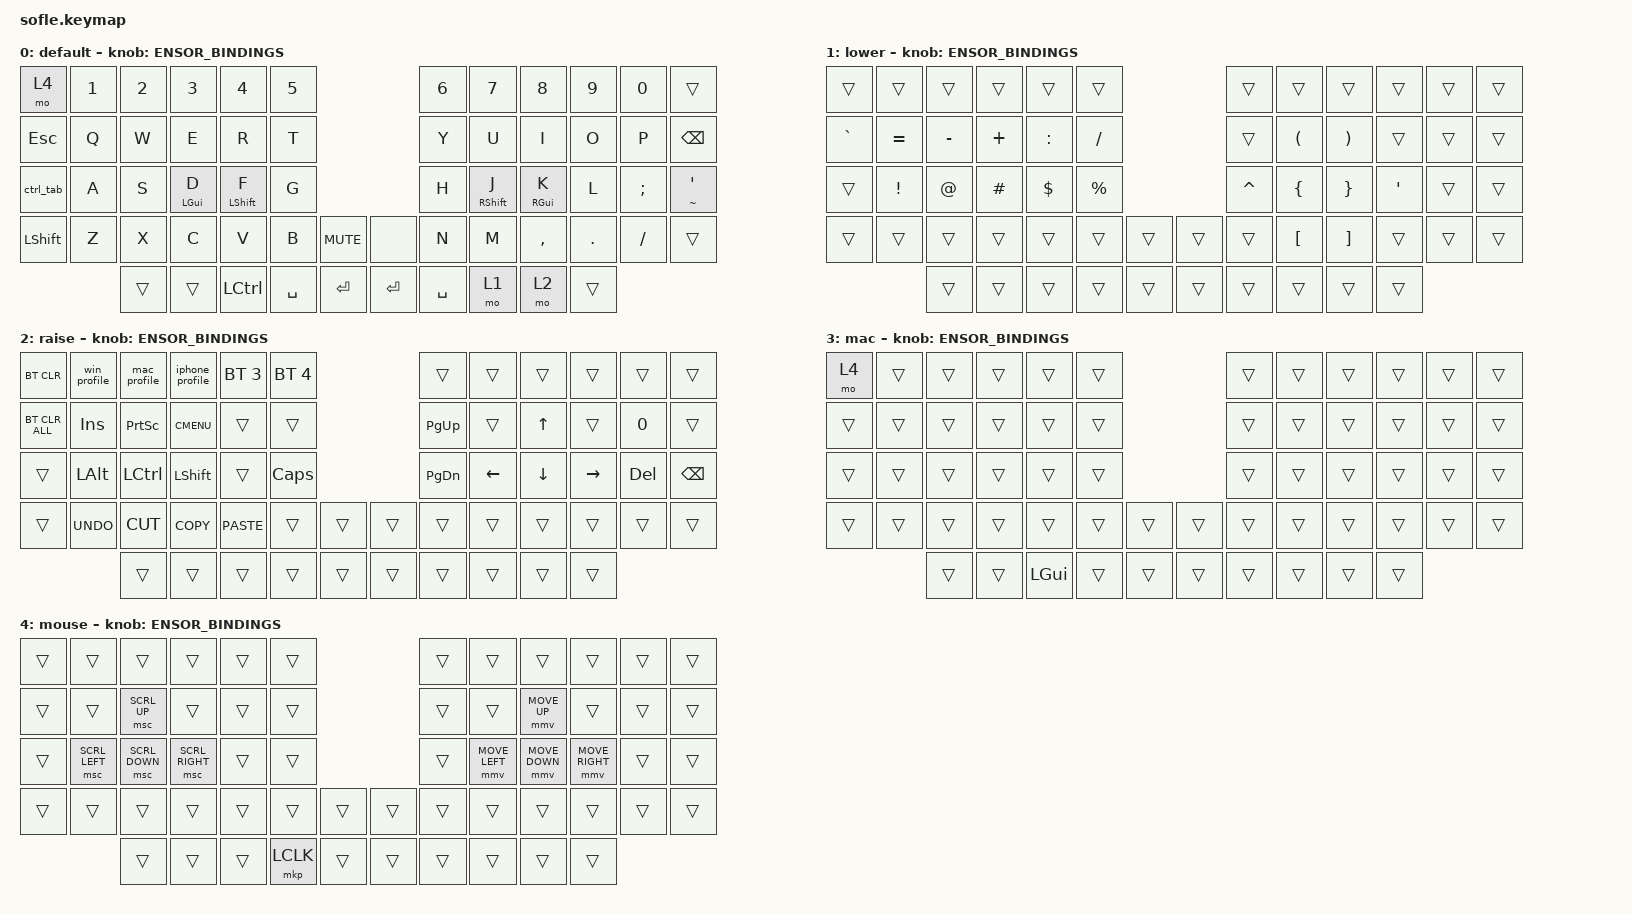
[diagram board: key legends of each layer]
/*
 * Copyright (c) 2020 The ZMK Contributors
 *
 * SPDX-License-Identifier: MIT
 */

#include <behaviors.dtsi>
#include <dt-bindings/zmk/bt.h>
#include <dt-bindings/zmk/keys.h>
#include <dt-bindings/zmk/modifiers.h>
#include <dt-bindings/zmk/pointing.h>
#define BASE 0
#define LOWER 1
#define RAISE 2
#define ADJUST 3

// Sensor do encoder, igual em todas as camadas
#define SENSOR_BINDINGS &inc_dec_kp C_VOL_UP C_VOL_DN &inc_dec_kp PG_DN PG_UP

/ {
    // Activate ADJUST layer by pressing raise and lower

    combos {
        compatible = "zmk,combos";

        keys {
            bindings = <&kp LEFT_BRACE>;
            key-positions = <15 16>;
        };

        parenthesis {
            bindings = <&kp LEFT_PARENTHESIS>;
            key-positions = <27 28>;
        };

        brac {
            bindings = <&kp LEFT_BRACKET>;
            key-positions = <39 40>;
        };
    };

    behaviors {
        hrm_shift: hrm_shift {
            compatible = "zmk,behavior-hold-tap";
            label = "HRM_SHIFT";
            bindings = <&kp>, <&kp>;

            #binding-cells = <2>;
            tapping-term-ms = <200>;
            quick-tap-ms = <0>;
            flavor = "tap-preferred";
        };

        hrm_ctrl: hrm_ctrl {
            compatible = "zmk,behavior-hold-tap";
            label = "HRM_CTRL";
            bindings = <&kp>, <&kp>;

            #binding-cells = <2>;
            tapping-term-ms = <200>;
            quick-tap-ms = <0>;
            flavor = "tap-preferred";
        };

        ctrl_tab: ctrl_tab {
            compatible = "zmk,behavior-mod-morph";
            label = "CTRL_TAB";
            #binding-cells = <0>;
            bindings = <&kp TAB>, <&kp LA(TAB)>;
            mods = <(MOD_LCTL)>;
            keep-mods = <(MOD_LCTL)>;
        };
    };

    macros {
        mac_profile: mac_profile {
            compatible = "zmk,behavior-macro";
            label = "MAC_PROFILE";
            #binding-cells = <0>;
            wait-ms = <50>;
            tap-ms = <30>;
            bindings = <&bt BT_SEL 1>, <&to 3>;
        };

        win_profile: win_profile {
            compatible = "zmk,behavior-macro";
            label = "WIN_PROFILE";
            #binding-cells = <0>;
            wait-ms = <50>;
            tap-ms = <30>;
            bindings = <&bt BT_SEL 0>, <&to 0>;
        };

        iphone_profile: iphone_profile {
            compatible = "zmk,behavior-macro";
            label = "IPHONE_PROFILE";
            #binding-cells = <0>;
            wait-ms = <50>;
            tap-ms = <30>;
            bindings = <&bt BT_SEL 2>, <&to 3>;
        };
    };

    keymap {
        compatible = "zmk,keymap";

        win {
            display-name = "default";

            // ------------------------------------------------------------------------------------------------------------
            // |   `   |  1  |  2  |  3   |  4   |  5   |                   |  6   |  7    |  8    |  9   |   0   |       |
            // |  ESC  |  Q  |  W  |  E   |  R   |  T   |                   |  Y   |  U    |  I    |  O   |   P   | BKSPC |
            // |  TAB  |  A  |  S  |  D   |  F   |  G   |                   |  H   |  J    |  K    |  L   |   ;   |   '   |
            // | SHIFT |  Z  |  X  |  C   |  V   |  B   |  MUTE  |  |       |  N   |  M    |  ,    |  .   |   /   | SHIFT |
            //               | GUI | ALT  | CTRL | LOWER|  ENTER |  | ENTER | SPACE| LOWER | RAISE | GUI  |

            bindings = <
&mo 4     &kp NUMBER_1  &kp NUMBER_2  &kp N3            &kp N4                   &kp N5                              &kp NUMBER_6  &kp NUMBER_7              &kp NUMBER_8           &kp NUMBER_9  &kp NUMBER_0  &trans
&kp ESC    &kp Q         &kp W         &kp E             &kp R                    &kp T                               &kp Y         &kp U                     &kp I                  &kp O         &kp P         &kp BSPC
&ctrl_tab  &kp A         &kp S         &hrm_ctrl LGUI D  &hrm_shift LEFT_SHIFT F  &kp G                               &kp H         &hrm_shift RIGHT_SHIFT J  &hrm_ctrl RIGHT_GUI K  &kp L         &kp SEMI      &hrm_ctrl TILDE SQT
&kp LSHFT  &kp Z         &kp X         &kp C             &kp V                    &kp B      &kp C_MUTE    &none      &kp N         &kp M                     &kp COMMA              &kp DOT       &kp FSLH      &trans
                            &trans        &trans            &kp LCTRL             &kp SPACE  &kp RET      &kp ENTER  &kp SPACE     &mo 1                     &mo 2                  &trans
            >;

            sensor-bindings = <SENSOR_BINDINGS>;
        };

        utils {
            display-name = "lower";

            // TODO: Some binds are waiting for shifted keycode support.
            // ------------------------------------------------------------------------------------------------------------
            // |       |  F1 |  F2 |  F3  |  F4  |  F5  |                   |  F6  |  F7   |  F8   |  F9  |  F10  |  F11  |
            // |   `   |  1  |  2  |  3   |  4   |  5   |                   |  6   |  7    |  8    |  9   |   0   |  F12  |
            // |       |  !  |  @  |  #   |  $   |  %   |                   |  ^   |  &    |  *    |  (   |   )   |   |   |
            // |       |  =  |  -  |  +   |  {   |  }   |        |  |       |  [   |  ]    |  ;    |  :   |   \   |       |
            //               |     |      |      |      |        |  |       |      |       |       |      |

            bindings = <
&trans     &trans     &trans     &trans    &trans     &trans                       &trans     &trans    &trans    &trans   &trans  &trans
&kp GRAVE  &kp EQUAL  &kp MINUS  &kp PLUS  &kp COLON  &kp SLASH                    &trans     &kp LPAR  &kp RPAR  &trans   &trans  &trans
&trans     &kp EXCL   &kp AT     &kp HASH  &kp DLLR   &kp PRCNT                    &kp CARET  &kp LBRC  &kp RBRC  &kp SQT  &trans  &trans
&trans     &trans     &trans     &trans    &trans     &trans     &trans    &trans  &trans     &kp LBKT  &kp RBKT  &trans   &trans  &trans
                      &trans     &trans    &trans     &trans     &trans    &trans  &trans     &trans    &trans    &trans
            >;

            sensor-bindings = <SENSOR_BINDINGS>;
        };

        adjust {
            display-name = "raise";

            // ------------------------------------------------------------------------------------------------------------
            // | BTCLR | BT1  | BT2  |  BT3  |  BT4  |  BT5 |                |      |      |       |      |       |       |
            // |       | INS  | PSCR | GUI   |       |      |                | PGUP |      |   ^   |      |       |       |
            // |       | ALT  | CTRL | SHIFT |       | CAPS |                | PGDN |   <- |   v   |  ->  |  DEL  | BKSPC |
            // |       | UNDO | CUT  | COPY  | PASTE |      |      |  |      |      |      |       |      |       |       |
            //                |      |       |       |      |      |  |      |      |      |       |      |

            bindings = <
&bt BT_CLR      &win_profile  &mac_profile &iphone_profile &bt BT_SEL 3  &bt BT_SEL 4                    &trans     &trans    &trans    &trans     &trans   &trans
&bt BT_CLR_ALL  &kp INS       &kp PSCRN     &kp K_CMENU   &trans        &trans                          &kp PG_UP  &trans    &kp UP    &trans     &kp N0   &trans
&trans          &kp LALT      &kp LCTRL     &kp LSHFT     &trans        &kp CLCK                        &kp PG_DN  &kp LEFT  &kp DOWN  &kp RIGHT  &kp DEL  &kp BSPC
&trans          &kp K_UNDO    &kp K_CUT     &kp K_COPY    &kp K_PASTE   &trans        &trans    &trans  &trans     &trans    &trans    &trans     &trans   &trans
                              &trans        &trans        &trans        &trans        &trans    &trans  &trans     &trans    &trans    &trans
            >;

            sensor-bindings = <SENSOR_BINDINGS>;
        };

        mac {
            display-name = "mac";

            // ------------------------------------------------------------------------------------------------------------
            // |   `   |  1  |  2  |  3   |  4   |  5   |                   |  6   |  7    |  8    |  9   |   0   |       |
            // |  ESC  |  Q  |  W  |  E   |  R   |  T   |                   |  Y   |  U    |  I    |  O   |   P   | BKSPC |
            // |  TAB  |  A  |  S  |  D   |  F   |  G   |                   |  H   |  J    |  K    |  L   |   ;   |   '   |
            // | SHIFT |  Z  |  X  |  C   |  V   |  B   |  MUTE  |  |       |  N   |  M    |  ,    |  .   |   /   | SHIFT |
            //               | GUI | ALT  | CMD  | LOWER |  ENTER |  | ENTER | SPACE | LOWER | RAISE  | GUI  |
            //
            // Overlay: só a tecla CTRL do polegar esquerdo vira CMD. Todo o resto herda da camada default (win).

            bindings = <
&mo 4      &trans  &trans  &trans            &trans                   &trans                              &trans  &trans              &trans           &trans  &trans  &trans
&trans     &trans  &trans  &trans            &trans                   &trans                              &trans  &trans              &trans           &trans  &trans  &trans
&trans     &trans  &trans  &trans            &trans                   &trans                              &trans  &trans              &trans           &trans  &trans  &trans
&trans  &trans  &trans  &trans  &trans  &trans  &trans  &trans  &trans  &trans  &trans  &trans  &trans  &trans
                            &trans        &trans            &kp LGUI                &trans  &trans      &trans  &trans     &trans                     &trans                  &trans
            >;

            sensor-bindings = <SENSOR_BINDINGS>;
        };

        mouse {
            display-name = "mouse";

            // Camada do mouse (segure a tecla acima do ESC, &mo 4).
            // W/A/S/D rolam a tela. I/J/K/L movem o cursor (cima, esquerda, baixo, direita).
            // SPACE do dedão esquerdo é o clique esquerdo.

            bindings = <
&trans &trans &trans &trans &trans &trans &trans &trans &trans &trans &trans &trans
&trans &trans &msc SCRL_UP &trans &trans &trans &trans &trans &mmv MOVE_UP &trans &trans &trans
&trans &msc SCRL_LEFT &msc SCRL_DOWN &msc SCRL_RIGHT &trans &trans &trans &mmv MOVE_LEFT &mmv MOVE_DOWN &mmv MOVE_RIGHT &trans &trans
&trans &trans &trans &trans &trans &trans &trans &trans &trans &trans &trans &trans &trans &trans
&trans &trans &trans &mkp LCLK &trans &trans &trans &trans &trans &trans
            >;

            sensor-bindings = <SENSOR_BINDINGS>;
        };
    };
};
